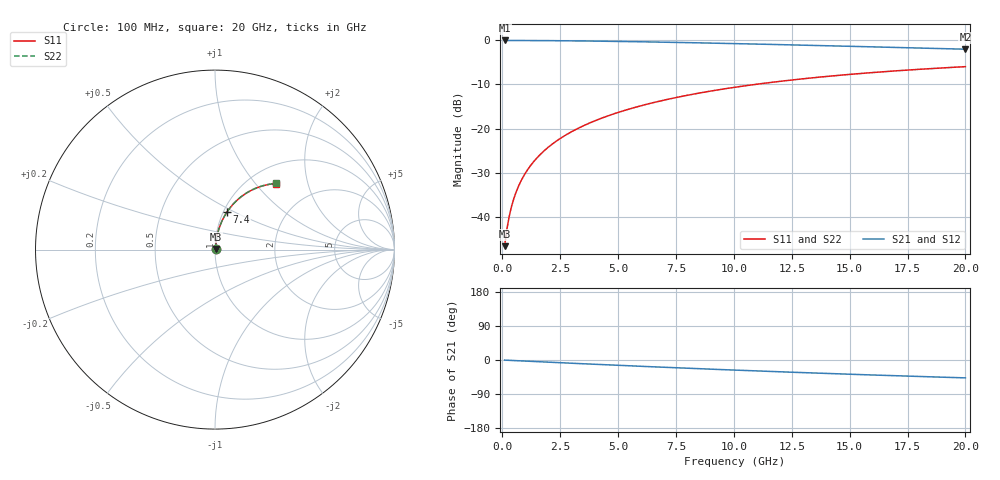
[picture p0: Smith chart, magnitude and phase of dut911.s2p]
! Touchstone file exported from HFSS 2024.1.0
!  File:  C:/UserFiles/LocalFiles/RDL_TSV_Batchsim/temp_RDL_bottom_911_1779940425.aedt
!  Generated:  11:56:44 AM May 28, 2026
!  Design:  RDL_bottom
!  Project:  temp_RDL_bottom_911_1779940425
!  Setup:  Setup1
!  Solution:  Sweep
! Variables:
!  dtsv = 10.80580581um
!  hbump = 3um
!  htsv = 80.21um
!  ldown = 612.02um
!  lrdl = 100um
!  p = 40
!  p1 = 58.6um
!  rhole = 1um
!  t = 450um
!  tdown = 4.67um
!  trdl = 3.915915916um
!  wdown = 14.17um
!  wrdl = 20um
# GHz S MA R 50.000000
! Terminal data exported
! Port[1] = RDL1_T1
! Port[2] = RDL1_T2
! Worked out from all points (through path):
!   200 points, 100 MHz to 20 GHz, reference 50 ohm
!   highest |S21| = -0.03 dB at 100 MHz (marker M1); lowest = -2.0 dB at 20 GHz (marker M2)
!   group delay of S21, straight-line fit = 6.54 ps
!   lowest |S11| = -46.7 dB at 100 MHz (marker M3), VSWR 1.01, Z = 50.3 + j0.321 ohm
!   |S11| at or under -10 dB: start of sweep to 10.92 GHz
!   |S22| runs from -46.7 to -6.0 dB; largest |S21 - S12| = 2.1e-14
!   S11 on the Smith chart (normalised r, x): 100 MHz: 1.01, +0.01; 7.4 GHz: 1.04, +0.46; 20 GHz: 1.32, +1.30
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0.1  0.00463 43.6  0.9966 -0.3  0.9966 -0.3  0.00463 43.6
! Gamma 0 0 0 0
! Port Impedance 50 0 50 0
0.2  0.007233 61.4  0.9965 -0.6  0.9965 -0.6  0.007233 61.4
0.3  0.01013 69.1  0.9964 -0.9  0.9964 -0.9  0.01013 69.1
0.4  0.0131 73.3  0.9963 -1.2  0.9963 -1.2  0.0131 73.3
0.5  0.0161 75.8  0.9961 -1.5  0.9961 -1.5  0.01609 75.8
0.6  0.01911 77.5  0.9959 -1.7  0.9959 -1.7  0.01911 77.6
0.8  0.02517 79.6  0.9956 -2.3  0.9956 -2.3  0.02517 79.6
1.1  0.0343 81.1  0.9949 -3.2  0.9949 -3.2  0.0343 81.1
1.5  0.04652 81.8  0.9938 -4.3  0.9938 -4.3  0.04652 81.8
1.8  0.05568 81.9  0.9927 -5.2  0.9927 -5.2  0.05569 81.9
2.1  0.06484 81.7  0.9915 -6.0  0.9915 -6.0  0.06484 81.8
2.7  0.0831 81.1  0.9885 -7.7  0.9885 -7.7  0.08311 81.1
3.5  0.1073 79.9  0.9836 -9.9  0.9836 -9.9  0.1073 79.9
4.2  0.1283 78.6  0.9785 -11.9  0.9785 -11.9  0.1283 78.6
5  0.1521 77.1  0.972 -14.0  0.972 -14.0  0.1521 77.1
6.8  0.2045 73.4  0.9548 -18.7  0.9548 -18.7  0.2046 73.5
7.4  0.2216 72.1  0.9485 -20.2  0.9485 -20.2  0.2217 72.2
8.7  0.2577 69.4  0.934 -23.4  0.934 -23.4  0.2578 69.5
10.1  0.2951 66.4  0.9175 -26.8  0.9175 -26.8  0.2953 66.5
13.4  0.3758 59.5  0.8763 -34.2  0.8763 -34.2  0.3761 59.6
16.7  0.445 53.0  0.8341 -41.0  0.8341 -41.0  0.4454 53.1
20  0.5028 47.1  0.7931 -47.2  0.7931 -47.2  0.5033 47.2
